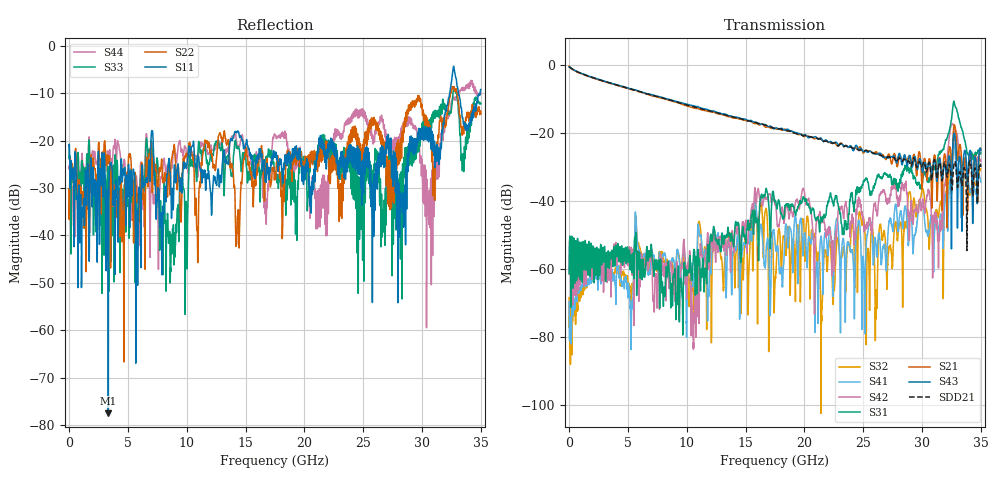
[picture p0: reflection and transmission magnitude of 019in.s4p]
! S11 = S11
! S12 = S12
! S13 = S13
! S14 = S14
! S21 = S21
! S22 = S22
! S23 = S23
! S24 = S24
! S31 = S31
! S32 = S32
! S33 = S33
! S34 = S34
! S41 = S41
! S42 = S42
! S43 = S43
! S44 = S44
! FILE: L:\PLTS\Trace Boards\Meg6_smp_june_2015\board_sn_56c014\SMP_De-embedded - 35GHz\SMP_De-embedded - 35GHz2\L18_19in.s4p
!$DUT_CFG_DESC: Default 4-Port Configuration
!$NUMBER_PORTS: 4
!$DIFF_PORT_MAP: 1|2P|2|2P|0|UC|0|UC|
!$PORT_MAP: 1|1|<<<<<<|2|2|>>>>>>|3|3|<<<<<<|4|4|>>>>>>|
# MHz S MA R 50.00
! FREQ  S11  S12  S13  S14
!  S21  S22  S23  S24
!  S31  S32  S33  S34
!  S41  S42  S43  S44
!  MAG  ANGLE  MAG  ANGLE  MAG  ANGLE  MAG  ANGLE
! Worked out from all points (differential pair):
!   3500 points, 10 MHz to 35 GHz, reference 50 ohm
!   strongest paths, dB at 10 MHz, 8.76 GHz, 17.51 GHz, 26.26 GHz, 35 GHz:
!     S43: -0.6, -10.4, -18.6, -26.2, -25.2
!     S21: -0.3, -10.6, -18.7, -26.1, -24.9
!     S31: -61.4, -64.6, -39.8, -32.8, -25.8
!     S42: -61.4, -61.7, -41.1, -41.2, -28.3
!     S41: -69.6, -56.8, -52.5, -51.1, -34.4
!     S32: -68.4, -58.0, -64.0, -55.8, -30.5
!   taken as a pair (ports 3,1 in; 4,2 out), SDD21 dB: -0.5, -10.5, -18.6, -26.2, -30.0
!   lowest |S11| = -77.5 dB at 3.34 GHz (marker M1), VSWR 1.00, Z = 50 + j0.0127 ohm
!   |S11| at or under -10 dB: start of sweep to 32.35 GHz; 33.08 GHz to 34.93 GHz (1.848 GHz wide, 5.43 % of centre)
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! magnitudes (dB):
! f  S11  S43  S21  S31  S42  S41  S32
! 10 MHz  -21.1  -0.6  -0.3  -61.4  -61.4  -69.6  -68.4
! 3.34 GHz  -77.5  -5.1  -5.2  -54.7  -56.2  -61.6  -62.9
! 10.63 GHz  -22.0  -12.1  -12.7  -54.6  -73.9  -62.3  -71.4
! 16.28 GHz  -21.8  -17.4  -17.5  -39.1  -39.2  -47.2  -40.7
! 26.09 GHz  -29.6  -26.1  -25.5  -33.8  -42.9  -53.0  -71.1
! 30.53 GHz  -18.0  -29.5  -29.4  -33.5  -36.6  -49.7  -47.5
! 35 GHz  -9.2  -25.2  -24.9  -25.8  -28.3  -34.4  -30.5
